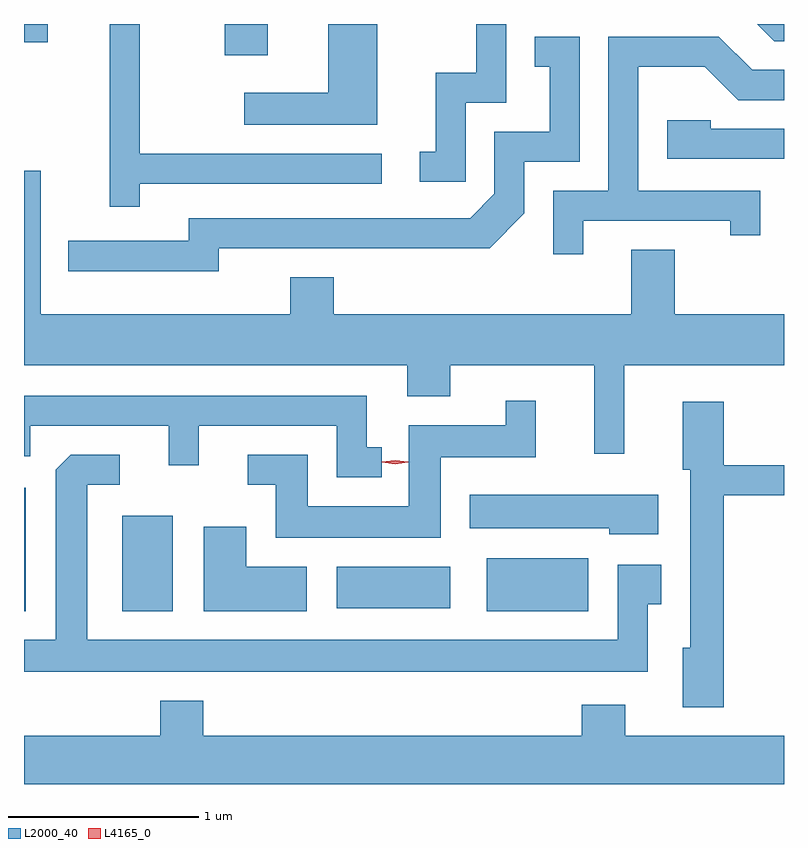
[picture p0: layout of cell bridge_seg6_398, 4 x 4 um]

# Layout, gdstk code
import gdstk
lib = gdstk.Library(unit=1e-6, precision=1e-09)
def R(c, l, rs):  # rectangles x0, y0, x1, y1
    for r in rs: c.add(gdstk.rectangle(r[:2], r[2:], *l))
def P(c, l, *ps):  # polygons
    for p in ps: c.add(gdstk.Polygon(p, *l))
L2000_40 = (2000, 40)
L4165_0 = (4165, 0)

bridge_seg6_398 = lib.new_cell('bridge_seg6_398')
R(bridge_seg6_398, L2000_40, [(921.105,1615.341,921.114,1615.989), (921.621,1615.341,921.889,1615.844), (923.541,1615.341,924.074,1615.619), (922.751,1615.356,923.349,1615.574), (922.161,1618.266,922.389,1618.431), (921.105,1618.336,921.229,1618.431)])
P(bridge_seg6_398, L2000_40, [(925.105,1618.431),(924.964,1618.431),(925.054,1618.341),(925.105,1618.341)],
  [(923.429,1618.016),(923.644,1618.016),(923.644,1618.431),(923.486,1618.431),(923.486,1618.174),(923.271,1618.174),(923.271,1617.759),(923.188,1617.759),(923.188,1617.601),(923.429,1617.601)],
  [(921.714,1617.591),(922.988,1617.591),(922.988,1617.749),(921.714,1617.749),(921.714,1618.431),(921.556,1618.431),(921.556,1617.468),(921.714,1617.468)],
  [(922.964,1618.431),(922.706,1618.431),(922.706,1618.069),(922.263,1618.069),(922.263,1617.901),(922.964,1617.901)],
  [(924.049,1617.396),(924.821,1617.396),(924.821,1617.318),(924.979,1617.318),(924.979,1617.554),(924.339,1617.554),(924.339,1618.206),(924.689,1618.206),(924.864,1618.031),(925.105,1618.031),(925.105,1618.189),(924.937,1618.189),(924.762,1618.364),(924.181,1618.364),(924.181,1617.554),(923.891,1617.554),(923.891,1617.218),(924.049,1617.218)],
  [(922.129,1617.251),(923.557,1617.251),(923.739,1617.434),(923.739,1617.706),(924.029,1617.706),(924.029,1618.364),(923.793,1618.364),(923.793,1618.206),(923.871,1618.206),(923.871,1617.864),(923.581,1617.864),(923.581,1617.537),(923.454,1617.409),(921.971,1617.409),(921.971,1617.289),(921.338,1617.289),(921.338,1617.131),(922.129,1617.131)],
  [(925.105,1617.879),(924.719,1617.879),(924.719,1617.924),(924.491,1617.924),(924.491,1617.721),(925.105,1617.721)],
  [(924.264,1616.636),(925.105,1616.636),(925.105,1616.904),(924.529,1616.904),(924.529,1617.244),(924.301,1617.244),(924.301,1616.904),(922.734,1616.904),(922.734,1617.099),(922.506,1617.099),(922.506,1616.904),(921.194,1616.904),(921.194,1617.658),(921.105,1617.658),(921.105,1616.636),(923.121,1616.636),(923.121,1616.471),(923.349,1616.471),(923.349,1616.636),(924.106,1616.636),(924.106,1616.168),(924.264,1616.168)],
  [(922.988,1616.204),(922.909,1616.204),(922.909,1616.474),(921.105,1616.474),(921.105,1616.156),(921.139,1616.156),(921.139,1616.316),(921.866,1616.316),(921.866,1616.108),(922.024,1616.108),(922.024,1616.316),(922.751,1616.316),(922.751,1616.046),(922.988,1616.046)],
  [(923.299,1616.151),(923.799,1616.151),(923.799,1616.448),(923.641,1616.448),(923.641,1616.319),(923.131,1616.319),(923.131,1615.894),(922.599,1615.894),(922.599,1616.164),(922.283,1616.164),(922.283,1616.006),(922.431,1616.006),(922.431,1615.726),(923.299,1615.726)],
  [(924.789,1615.951),(925.105,1615.951),(925.105,1616.109),(924.789,1616.109),(924.789,1616.444),(924.571,1616.444),(924.571,1616.086),(924.611,1616.086),(924.611,1615.149),(924.571,1615.149),(924.571,1614.836),(924.789,1614.836)],
  [(924.389,1615.376),(924.459,1615.376),(924.459,1615.584),(924.231,1615.584),(924.231,1615.189),(921.439,1615.189),(921.439,1616.006),(921.608,1616.006),(921.608,1616.164),(921.352,1616.164),(921.271,1616.084),(921.271,1615.189),(921.105,1615.189),(921.105,1615.021),(924.389,1615.021)],
  [(924.444,1615.954),(923.451,1615.954),(923.451,1615.776),(924.186,1615.776),(924.186,1615.746),(924.444,1615.746)],
  [(922.594,1615.574),(922.274,1615.574),(922.274,1615.784),(922.051,1615.784),(922.051,1615.341),(922.594,1615.341)],
  [(925.105,1614.684),(924.269,1614.684),(924.269,1614.849),(924.041,1614.849),(924.041,1614.684),(922.049,1614.684),(922.049,1614.869),(921.821,1614.869),(921.821,1614.684),(921.105,1614.684),(921.105,1614.431),(925.105,1614.431)])
P(bridge_seg6_398, L4165_0, [(923.058,1616.115),(922.989,1616.124),(922.989,1616.125),(922.989,1616.126),(923.058,1616.135),(923.128,1616.126),(923.128,1616.125),(923.128,1616.124)])

lib.write_gds('bridge_seg6_398.gds')
